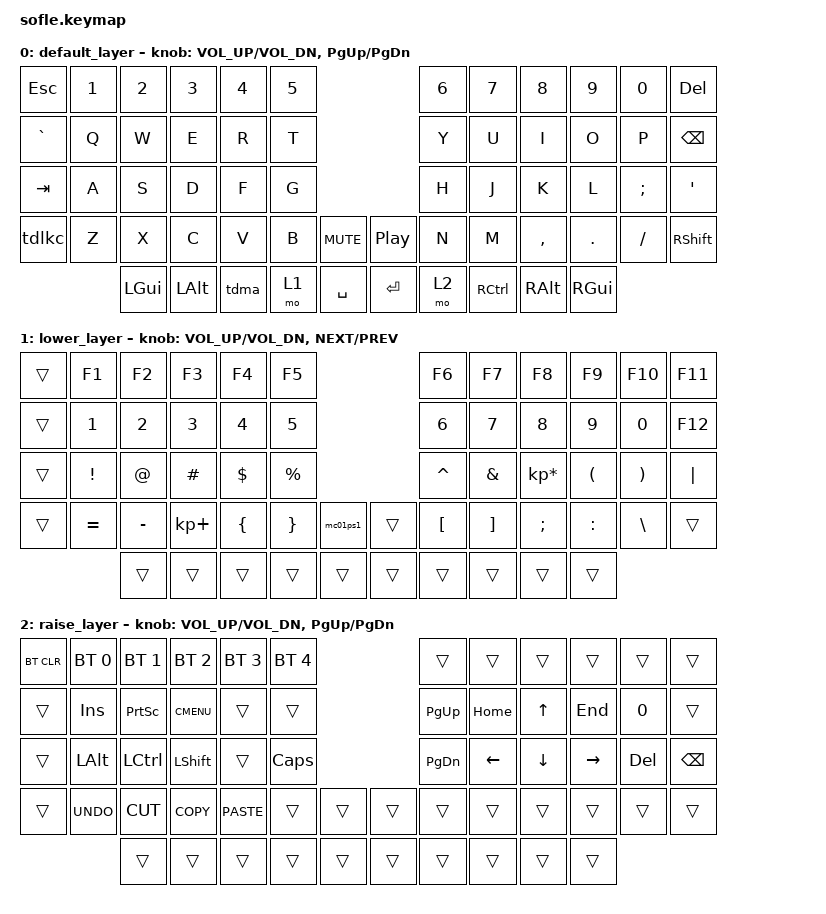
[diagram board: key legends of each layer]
/*
 * Copyright (c) 2020 The ZMK Contributors
 *
 * SPDX-License-Identifier: MIT
 */

#include <behaviors.dtsi>
#include <dt-bindings/zmk/keys.h>
#include <dt-bindings/zmk/bt.h>

&sk {
    release-after-ms = <10800000>;
};

/ {
       
    macros {
        mc01ps1: mc01ps1 {
            label = "ZM_mc01_psc01";
            compatible = "zmk,behavior-macro";
            #binding-cells = <0>;
            wait-ms = <60>;
            bindings
                = <&macro_tap_time 60>,
                <&macro_press &kp LSHFT>,
                <&macro_tap &kp I>,
                <&macro_release &kp LSHFT>,
                <&macro_tap &kp C &kp A &kp  &kp A &kp N &kp D &kp O &kp T &kp H &kp I &kp S &kp N0 &kp EXCL &kp EXCL>
                ;
        };
    };

    behaviors {
        tdlkc: tap_dance_0 {
            compatible = "zmk,behavior-tap-dance";
            label = "TAP_DANCE_CAPS_LOCK";
            #binding-cells = <0>;
            tapping-term-ms = <200>;
            bindings = <&kp LSHFT>, <&kp CLCK>;
        };
        tdma: tap_dance_1 {
            compatible = "zmk,behavior-tap-dance";
            label = "TAP_DANCE_Maintain_Q";
            #binding-cells = <0>;
            tapping-term-ms = <300>;
            bindings = <&kp LCTRL>, <&kp LCTRL>, <&sk LCTRL> ;
        };
    };

    keymap {
        compatible = "zmk,keymap";

        default_layer {
// ------------------------------------------------------------------------------------------------------------
// |  ESC  |  1  |  2  |  3   |  4   |  5   |                   |  6   |  7    |  8    |  9   |   0   |  DEL  |
// |  `    |  Q  |  W  |  E   |  R   |  T   |                   |  Y   |  U    |  I    |  O   |   P   | BKSPC |
// |  TAB  |  A  |  S  |  D   |  F   |  G   |                   |  H   |  J    |  K    |  L   |   ;   |   '   |
// | SHIFT |  Z  |  X  |  C   |  V   |  B   |  MUTE  |  |Play/Ps|  N   |  M    |  ,    |  .   |   /   | SHIFT |
//               | GUI | ALT  | CTRL | LOWER|  ENTER |  | SPACE | RAISE| CTRL  | ALT   | GUI  |
            bindings = <
&kp ESC   &kp N1 &kp N2   &kp N3   &kp N4    &kp N5                      &kp N6 &kp N7    &kp N8    &kp N9   &kp N0   &kp DEL
&kp GRAVE &kp Q  &kp W    &kp E    &kp R     &kp T                       &kp Y  &kp U     &kp I     &kp O    &kp P    &kp BSPC
&kp TAB   &kp A  &kp S    &kp D    &kp F     &kp G                       &kp H  &kp J     &kp K     &kp L    &kp SEMI &kp SQT
&tdlkc    &kp Z  &kp X    &kp C    &kp V     &kp B  &kp C_MUTE &kp C_PP  &kp N  &kp M     &kp COMMA &kp DOT  &kp FSLH &kp RSHFT
                 &kp LGUI &kp LALT &tdma     &mo 1  &kp SPACE  &kp RET   &mo 2  &kp RCTRL &kp RALT  &kp RGUI
            >;

            sensor-bindings = <&inc_dec_kp C_VOL_UP C_VOL_DN &inc_dec_kp PG_UP PG_DN>;
        };

        lower_layer {
// TODO: Some binds are waiting for shifted keycode support.
// ------------------------------------------------------------------------------------------------------------
// |       |  F1 |  F2 |  F3  |  F4  |  F5  |                   |  F6  |  F7   |  F8   |  F9  |  F10  |  F11  |
// |       |   1 |   2 |   3  |   4  |   5  |                   |   6  |   7   |   8   |   9  |    0  |  F12  |
// |       |  !  |  @  |  #   |  $   |  %   |                   |  ^   |  &    |  *    |  (   |   )   |   |   |
// |       |  =  |  -  |  +   |  {   |  }   |        |  |       |  [   |  ]    |  ;    |  :   |   \   |       |
//               |     |      |      |      |        |  |       |      |       |       |      |
            bindings = <
&trans    &kp F1    &kp F2    &kp F3      &kp F4    &kp F5                    &kp F6    &kp F7   &kp F8          &kp F9    &kp F10   &kp F11
&trans    &kp N1    &kp N2    &kp N3      &kp N4    &kp N5                    &kp N6    &kp N7   &kp N8          &kp N9    &kp N0    &kp F12
&trans    &kp EXCL  &kp AT    &kp HASH    &kp DLLR  &kp PRCNT                 &kp CARET &kp AMPS &kp KP_MULTIPLY &kp LPAR  &kp RPAR  &kp PIPE
&trans    &kp EQUAL &kp MINUS &kp KP_PLUS &kp LBRC  &kp RBRC  &mc01ps1 &trans &kp LBKT  &kp RBKT &kp SEMI        &kp COLON &kp BSLH  &trans
                    &trans    &trans      &trans    &trans    &trans   &trans &trans    &trans   &trans          &trans
            >;

            sensor-bindings = <&inc_dec_kp C_VOL_UP C_VOL_DN &inc_dec_kp C_NEXT C_PREV>;
        };

        raise_layer {
// ------------------------------------------------------------------------------------------------------------
// |BTCLR| BT1  | BT2  |  BT3  |  BT4  |  BT5 |                |      |      |       |      |       |       |
// |     | INS  | PSCR | GUI   |       |      |                | PGUP | HOME |   ^   | END  |       |       |
// |     | ALT  | CTRL | SHIFT |       | CAPS |                | PGDN |   <- |   v   |  ->  |  DEL  | BKSPC |
// |     | UNDO | CUT  | COPY  | PASTE |      |      |  |      |      |      |       |      |       |       |
//              |      |       |       |      |      |  |      |      |      |       |      |
            bindings = <
&bt BT_CLR &bt BT_SEL 0 &bt BT_SEL 1 &bt BT_SEL 2 &bt BT_SEL 3 &bt BT_SEL 4             &trans    &trans    &trans   &trans    &trans  &trans
&trans     &kp INS      &kp PSCRN    &kp K_CMENU  &trans       &trans                   &kp PG_UP &kp HOME  &kp UP   &kp END   &kp N0  &trans
&trans     &kp LALT     &kp LCTRL    &kp LSHFT    &trans       &kp CLCK                 &kp PG_DN &kp LEFT  &kp DOWN &kp RIGHT &kp DEL &kp BSPC
&trans     &kp K_UNDO   &kp K_CUT    &kp K_COPY   &kp K_PASTE  &trans  &trans   &trans  &trans    &trans    &trans   &trans    &trans  &trans
                        &trans       &trans       &trans       &trans  &trans   &trans  &trans    &trans    &trans   &trans
            >;

            sensor-bindings = <&inc_dec_kp C_VOL_UP C_VOL_DN &inc_dec_kp PG_UP PG_DN>;
        };
    };
};
